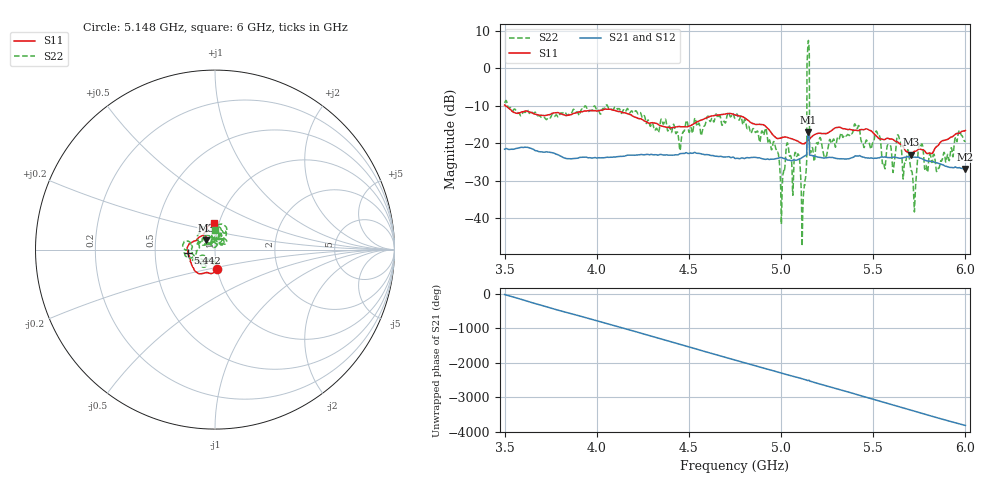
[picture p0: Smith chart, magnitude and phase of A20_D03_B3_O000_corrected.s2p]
! Created with skrf 1.9.0 (http://scikit-rf.org).
# Hz S RI R 50.0
!freq ReS11 ImS11 ReS21 ImS21 ReS12 ImS12 ReS22 ImS22
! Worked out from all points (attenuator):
!   1601 points, 3.5 GHz to 6 GHz, reference 50 ohm
!   highest |S21| = -17.00 dB at 5.147 GHz (marker M1); lowest = -26.9 dB at 5.997 GHz (marker M2)
!   lowest |S11| = -23.0 dB at 5.703 GHz (marker M3), VSWR 1.15, Z = 45.1 + j4.68 ohm
!   |S11| at or under -10 dB: 3.506 GHz to end of sweep
!   |S22| runs from -47.5 to 7.4 dB; largest |S21 - S12| = 0.0013
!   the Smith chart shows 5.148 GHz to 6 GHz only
!   S11 on the Smith chart (normalised r, x): 5.148 GHz: 1.00, -0.22; 5.442 GHz: 0.74, -0.03; 6 GHz: 0.94, +0.29
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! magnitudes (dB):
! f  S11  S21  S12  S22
! 3.5 GHz  -9.8  -21.6  -21.6  -9.2
! 3.917 GHz  -11.6  -23.8  -23.7  -10.9
! 4.334 GHz  -15.0  -23.2  -23.1  -17.1
! 4.75 GHz  -12.4  -24.1  -24.0  -13.4
! 4.967 GHz  -18.3  -24.2  -24.1  -20.6
! 5.006 GHz  -18.5  -23.9  -23.9  -31.4
! 5.034 GHz  -18.5  -24.5  -24.4  -19.9
! 5.088 GHz  -19.4  -24.4  -24.4  -23.3
! 5.12 GHz  -20.1  -23.6  -23.5  -34.6
! 5.147 GHz  -19.3  -17.0  -17.0  7.2
! 5.148 GHz  -19.2  -17.0  -17.0  7.4
! 5.167 GHz  -18.2  -23.3  -23.2  -21.3
! 5.408 GHz  -16.5  -23.4  -23.3  -15.8
! 5.442 GHz  -16.4  -23.7  -23.6  -19.7
! 5.558 GHz  -19.0  -23.7  -23.6  -25.3
! 5.584 GHz  -18.8  -23.8  -23.8  -20.5
! 5.703 GHz  -23.0  -23.7  -23.7  -26.8
! 5.723 GHz  -22.1  -23.7  -23.7  -38.3
! 5.756 GHz  -21.6  -24.0  -23.9  -21.1
! 5.85 GHz  -20.7  -25.3  -25.3  -26.7
! 5.997 GHz  -16.7  -26.9  -26.8  -19.5
! 6 GHz  -16.6  -26.9  -26.8  -19.4
